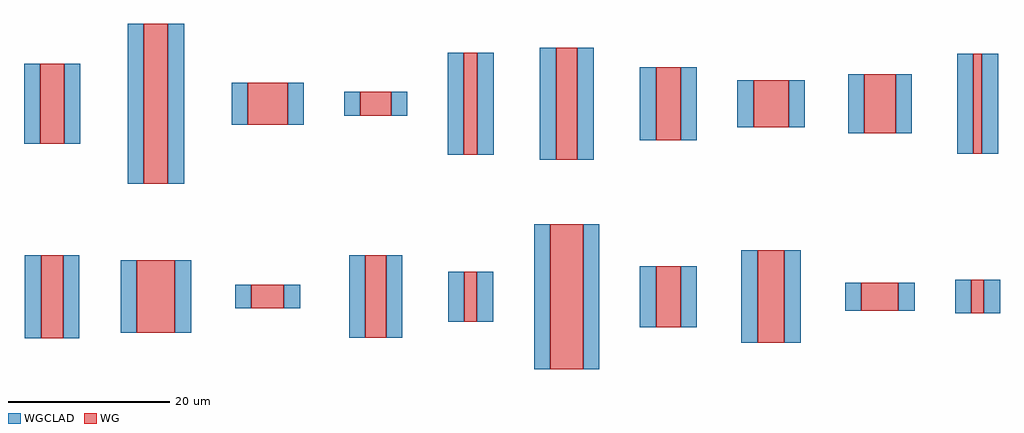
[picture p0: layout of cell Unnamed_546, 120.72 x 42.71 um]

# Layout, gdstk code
from math import pi, radians
import gdstk
lib = gdstk.Library(unit=1e-6, precision=1e-09)
def R(c, l, rs):  # rectangles x0, y0, x1, y1
    for r in rs: c.add(gdstk.rectangle(r[:2], r[2:], *l))
WG = (1, 0)
WGCLAD = (111, 0)

straight_w2736_l10261_lw = lib.new_cell('straight_W2736_L10261_LWG_EWGSTD')
R(straight_w2736_l10261_lw, WG, [(0,-1.368,10.261,1.368)])
R(straight_w2736_l10261_lw, WGCLAD, [(0,-3.368,10.261,-1.368), (0,1.368,10.261,3.368)])

straight_w3858_l7248_lwg = lib.new_cell('straight_W3858_L7248_LWG_EWGSTD')
R(straight_w3858_l7248_lwg, WG, [(0,-1.929,7.248,1.929)])
R(straight_w3858_l7248_lwg, WGCLAD, [(0,-3.929,7.248,-1.929), (0,1.929,7.248,3.929)])

straight_w1554_l4138_lwg = lib.new_cell('straight_W1554_L4138_LWG_EWGSTD')
R(straight_w1554_l4138_lwg, WG, [(0,-0.777,4.138,0.777)])
R(straight_w1554_l4138_lwg, WGCLAD, [(0,-2.777,4.138,-0.777), (0,0.777,4.138,2.777)])

straight_w4696_l8963_lwg = lib.new_cell('straight_W4696_L8963_LWG_EWGSTD')
R(straight_w4696_l8963_lwg, WG, [(0,-2.348,8.963,2.348)])
R(straight_w4696_l8963_lwg, WGCLAD, [(0,-4.348,8.963,-2.348), (0,2.348,8.963,4.348)])

straight_w2626_l13871_lw = lib.new_cell('straight_W2626_L13871_LWG_EWGSTD')
R(straight_w2626_l13871_lw, WG, [(0,-1.313,13.871,1.313)])
R(straight_w2626_l13871_lw, WGCLAD, [(0,-3.313,13.871,-1.313), (0,1.313,13.871,3.313)])

straight_w4034_l2912_lwg = lib.new_cell('straight_W4034_L2912_LWG_EWGSTD')
R(straight_w4034_l2912_lwg, WG, [(0,-2.017,2.912,2.017)])
R(straight_w4034_l2912_lwg, WGCLAD, [(0,-4.017,2.912,-2.017), (0,2.017,2.912,4.017)])

straight_w2590_l10229_lw = lib.new_cell('straight_W2590_L10229_LWG_EWGSTD')
R(straight_w2590_l10229_lw, WG, [(0,-1.295,10.229,1.295)])
R(straight_w2590_l10229_lw, WGCLAD, [(0,-3.295,10.229,-1.295), (0,1.295,10.229,3.295)])

straight_w1568_l6189_lwg = lib.new_cell('straight_W1568_L6189_LWG_EWGSTD')
R(straight_w1568_l6189_lwg, WG, [(0,-0.784,6.189,0.784)])
R(straight_w1568_l6189_lwg, WGCLAD, [(0,-2.784,6.189,-0.784), (0,0.784,6.189,2.784)])

straight_w1684_l12651_lw = lib.new_cell('straight_W1684_L12651_LWG_EWGSTD')
R(straight_w1684_l12651_lw, WG, [(0,-0.842,12.651,0.842)])
R(straight_w1684_l12651_lw, WGCLAD, [(0,-2.842,12.651,-0.842), (0,0.842,12.651,2.842)])

straight_w4090_l17941_lw = lib.new_cell('straight_W4090_L17941_LWG_EWGSTD')
R(straight_w4090_l17941_lw, WG, [(0,-2.045,17.941,2.045)])
R(straight_w4090_l17941_lw, WGCLAD, [(0,-4.045,17.941,-2.045), (0,2.045,17.941,4.045)])

straight_w1078_l12377_lw = lib.new_cell('straight_W1078_L12377_LWG_EWGSTD')
R(straight_w1078_l12377_lw, WG, [(0,-0.539,12.377,0.539)])
R(straight_w1078_l12377_lw, WGCLAD, [(0,-2.539,12.377,-0.539), (0,0.539,12.377,2.539)])

straight_w3056_l7537_lwg = lib.new_cell('straight_W3056_L7537_LWG_EWGSTD')
R(straight_w3056_l7537_lwg, WG, [(0,-1.528,7.537,1.528)])
R(straight_w3056_l7537_lwg, WGCLAD, [(0,-3.528,7.537,-1.528), (0,1.528,7.537,3.528)])

straight_w3032_l9049_lwg = lib.new_cell('straight_W3032_L9049_LWG_EWGSTD')
R(straight_w3032_l9049_lwg, WG, [(0,-1.516,9.049,1.516)])
R(straight_w3032_l9049_lwg, WGCLAD, [(0,-3.516,9.049,-1.516), (0,1.516,9.049,3.516)])

straight_w3324_l11457_lw = lib.new_cell('straight_W3324_L11457_LWG_EWGSTD')
R(straight_w3324_l11457_lw, WG, [(0,-1.662,11.457,1.662)])
R(straight_w3324_l11457_lw, WGCLAD, [(0,-3.662,11.457,-1.662), (0,1.662,11.457,3.662)])

straight_w3798_l2976_lwg = lib.new_cell('straight_W3798_L2976_LWG_EWGSTD')
R(straight_w3798_l2976_lwg, WG, [(0,-1.899,2.976,1.899)])
R(straight_w3798_l2976_lwg, WGCLAD, [(0,-3.899,2.976,-1.899), (0,1.899,2.976,3.899)])

straight_w4598_l3437_lwg = lib.new_cell('straight_W4598_L3437_LWG_EWGSTD')
R(straight_w4598_l3437_lwg, WG, [(0,-2.299,3.437,2.299)])
R(straight_w4598_l3437_lwg, WGCLAD, [(0,-4.299,3.437,-2.299), (0,2.299,3.437,4.299)])

straight_w2970_l9850_lwg = lib.new_cell('straight_W2970_L9850_LWG_EWGSTD')
R(straight_w2970_l9850_lwg, WG, [(0,-1.485,9.85,1.485)])
R(straight_w2970_l9850_lwg, WGCLAD, [(0,-3.485,9.85,-1.485), (0,1.485,9.85,3.485)])

straight_w2972_l19771_lw = lib.new_cell('straight_W2972_L19771_LWG_EWGSTD')
R(straight_w2972_l19771_lw, WG, [(0,-1.486,19.771,1.486)])
R(straight_w2972_l19771_lw, WGCLAD, [(0,-3.486,19.771,-1.486), (0,1.486,19.771,3.486)])

straight_w4332_l5800_lwg = lib.new_cell('straight_W4332_L5800_LWG_EWGSTD')
R(straight_w4332_l5800_lwg, WG, [(0,-2.166,5.8,2.166)])
R(straight_w4332_l5800_lwg, WGCLAD, [(0,-4.166,5.8,-2.166), (0,2.166,5.8,4.166)])

straight_w4938_l5160_lwg = lib.new_cell('straight_W4938_L5160_LWG_EWGSTD')
R(straight_w4938_l5160_lwg, WG, [(0,-2.469,5.16,2.469)])
R(straight_w4938_l5160_lwg, WGCLAD, [(0,-4.469,5.16,-2.469), (0,2.469,5.16,4.469)])

unnamed_546 = lib.new_cell('Unnamed_546')
unnamed_546.add(gdstk.Reference(straight_w2736_l10261_lw, (8.485,8.84), rotation=pi/2))
unnamed_546.add(gdstk.Reference(straight_w3858_l7248_lwg, (110.863,34.202), rotation=pi/2))
unnamed_546.add(gdstk.Reference(straight_w1554_l4138_lwg, (122.939,11.901), rotation=pi/2))
unnamed_546.add(gdstk.Reference(straight_w4696_l8963_lwg, (21.318,9.489), rotation=pi/2))
unnamed_546.add(gdstk.Reference(straight_w2626_l13871_lw, (72.131,30.891), rotation=pi/2))
unnamed_546.add(gdstk.Reference(straight_w4034_l2912_lwg, (35.135,12.514), rotation=pi/2))
unnamed_546.add(gdstk.Reference(straight_w2590_l10229_lw, (48.503,8.856), rotation=pi/2))
unnamed_546.add(gdstk.Reference(straight_w1568_l6189_lwg, (60.244,10.876), rotation=pi/2))
unnamed_546.add(gdstk.Reference(straight_w1684_l12651_lw, (60.244,31.501), rotation=pi/2))
unnamed_546.add(gdstk.Reference(straight_w4090_l17941_lw, (72.131,5), rotation=pi/2))
unnamed_546.add(gdstk.Reference(straight_w1078_l12377_lw, (122.939,31.638), rotation=pi/2))
unnamed_546.add(gdstk.Reference(straight_w3056_l7537_lwg, (84.704,10.202), rotation=pi/2))
unnamed_546.add(gdstk.Reference(straight_w3032_l9049_lwg, (84.704,33.302), rotation=pi/2))
unnamed_546.add(gdstk.Reference(straight_w3324_l11457_lw, (97.398,8.242), rotation=pi/2))
unnamed_546.add(gdstk.Reference(straight_w3798_l2976_lwg, (48.503,36.338), rotation=pi/2))
unnamed_546.add(gdstk.Reference(straight_w4598_l3437_lwg, (110.863,12.252), rotation=pi/2))
unnamed_546.add(gdstk.Reference(straight_w2970_l9850_lwg, (8.485,32.901), rotation=pi/2))
unnamed_546.add(gdstk.Reference(straight_w2972_l19771_lw, (21.318,27.941), rotation=pi/2))
unnamed_546.add(gdstk.Reference(straight_w4332_l5800_lwg, (97.398,34.926), rotation=pi/2))
unnamed_546.add(gdstk.Reference(straight_w4938_l5160_lwg, (35.135,35.246), rotation=pi/2))

lib.write_gds('Unnamed_546.gds')
